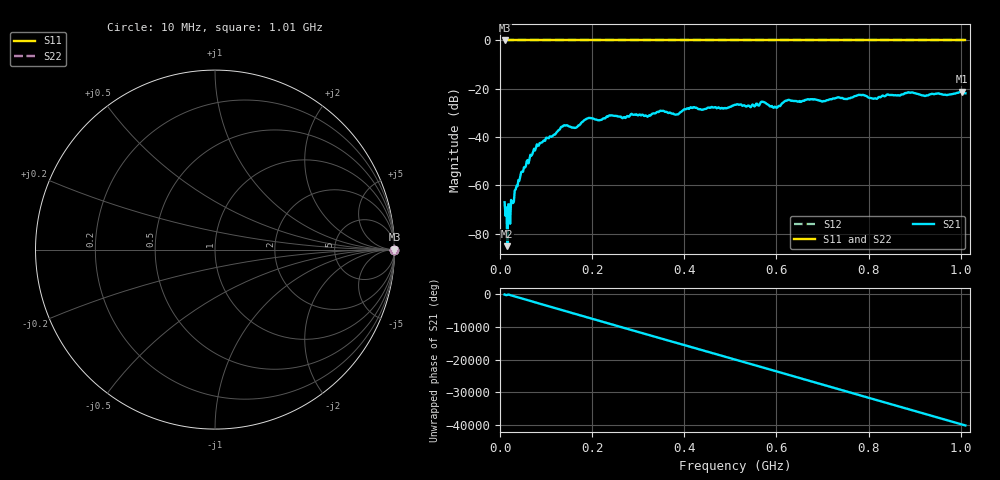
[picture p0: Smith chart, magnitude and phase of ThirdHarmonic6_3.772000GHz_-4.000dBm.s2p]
! 8/17/2025 12:59:01 PM
! C:\ANRITSUVNA\TEMP\TEMP.S2P
! CHANNEL.1
! TR.MEASUREMENT
! RAW.DATA
! RF.CORRECTION.OFF
! AVERAGING.OFF
! IF.BANDWIDTH: 5KHZ
! SWEEPTYPE:  FREQ.SWEEP(Linear)
! Reference Plane Port Info
! PORT:  PORT1  PORT2
! DISTANCE:  0  m  0  m
! TIME:  0  s  0  s
! PHASE.OFFSET:  0  deg.  0  deg.
! LOSS:  0  dB  0  dB
! REF.LOSS:  0  dB  0  dB
! REF.FREQ:  0  Hz  0  Hz
! Power Info
! POWER:  -20  dBm  -20  dBm
! EFF.POWER:  -20  dBm  -20  dBm
! SOURCE.ATTEN:  0  dB  0  dB
! TEST.ATTEN:  0  dB  0  dB
# GHZ S RI R 50.0
! FREQ.GHZ  S11RE  S11IM  S21RE  S21IM  S12RE  S12IM  S22RE  S22IM
!; PortSelection: Port_12
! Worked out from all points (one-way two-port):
!   501 points, 10 MHz to 1.01 GHz, reference 50 ohm
!   highest |S21| = -21.26 dB at 1.002 GHz (marker M1); lowest = -85.2 dB at 16 MHz (marker M2)
!   lowest |S11| = 0.0 dB at 10 MHz (marker M3)
!   |S11| at or under -10 dB: nowhere
!   |S22| runs from 0.0 to 0.0 dB; largest |S21 - S12| = 1.1
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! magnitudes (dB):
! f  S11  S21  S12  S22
! 10 MHz  0.0  -67.0  0.0  0.0
! 12 MHz  0.0  -72.6  0.0  0.0
! 16 MHz  0.0  -85.2  0.0  0.0
! 26 MHz  0.0  -67.0  0.0  0.0
! 36 MHz  0.0  -60.1  0.0  0.0
! 48 MHz  0.0  -54.3  0.0  0.0
! 78 MHz  0.0  -44.5  0.0  0.0
! 136 MHz  0.0  -35.7  0.0  0.0
! 164 MHz  0.0  -36.2  0.0  0.0
! 178 MHz  0.0  -33.8  0.0  0.0
! 192 MHz  0.0  -32.1  0.0  0.0
! 344 MHz  0.0  -29.7  0.0  0.0
! 382 MHz  0.0  -30.7  0.0  0.0
! 416 MHz  0.0  -27.9  0.0  0.0
! 510 MHz  0.0  -26.7  0.0  0.0
! 570 MHz  0.0  -25.4  0.0  0.0
! 598 MHz  0.0  -27.5  0.0  0.0
! 624 MHz  0.0  -24.7  0.0  0.0
! 678 MHz  0.0  -24.3  0.0  0.0
! 844 MHz  0.0  -22.5  0.0  0.0
! 1.002 GHz  0.0  -21.3  0.0  0.0
! 1.01 GHz  0.0  -21.9  0.0  0.0
